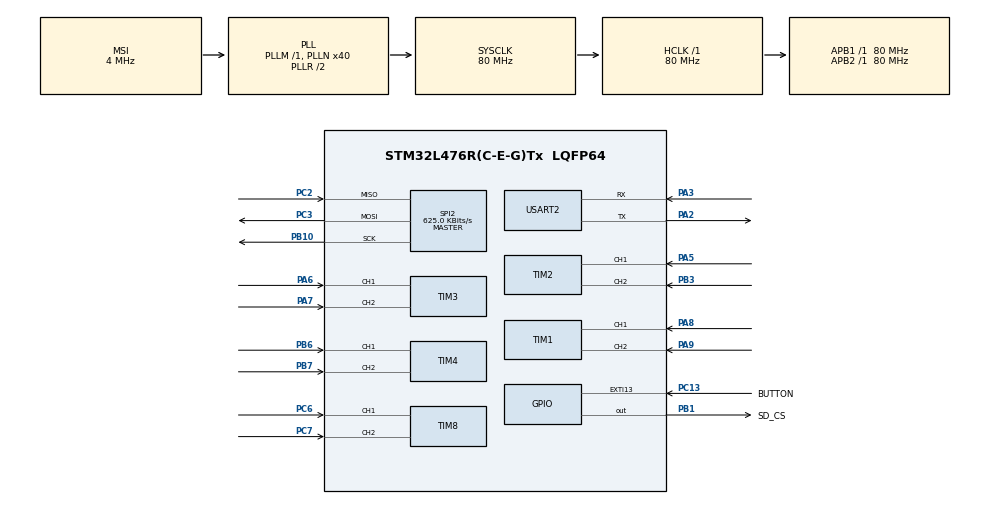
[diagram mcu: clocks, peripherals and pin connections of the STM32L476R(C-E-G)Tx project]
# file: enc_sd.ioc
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Mcu.Family=STM32L4
Mcu.Name=STM32L476R(C-E-G)Tx
Mcu.Package=LQFP64
NVIC.EXTI15_10_IRQn=true\:0\:0\:false\:false\:true\:true\:true\:true
NVIC.PriorityGroup=NVIC_PRIORITYGROUP_4
PA2.Mode=Asynchronous
PA2.Signal=USART2_TX
PA3.Mode=Asynchronous
PA3.Signal=USART2_RX
PA5.Signal=S_TIM2_CH1
PA6.Signal=S_TIM3_CH1
PA7.Signal=S_TIM3_CH2
PA8.Signal=S_TIM1_CH1
PA9.Signal=S_TIM1_CH2
PB1.GPIO_Label=SD_CS
PB1.Signal=GPIO_Output
PB10.Mode=Full_Duplex_Master
PB10.Signal=SPI2_SCK
PB3\ (JTDO-TRACESWO).Signal=S_TIM2_CH2
PB6.Signal=S_TIM4_CH1
PB7.Signal=S_TIM4_CH2
PC13.GPIO_Label=BUTTON
PC13.GPIO_ModeDefaultEXTI=GPIO_MODE_IT_FALLING
PC13.Signal=GPXTI13
PC2.Mode=Full_Duplex_Master
PC2.Signal=SPI2_MISO
PC3.Mode=Full_Duplex_Master
PC3.Signal=SPI2_MOSI
PC6.Signal=S_TIM8_CH1
PC7.Signal=S_TIM8_CH2
ProjectManager.HeapSize=0x200
ProjectManager.StackSize=0x400
ProjectManager.TargetToolchain=STM32CubeIDE
RCC.ADCFreq_Value=16000000
RCC.AHBFreq_Value=80000000
RCC.APB1Freq_Value=80000000
RCC.APB1TimFreq_Value=80000000
RCC.APB2Freq_Value=80000000
RCC.APB2TimFreq_Value=80000000
RCC.CortexFreq_Value=80000000
RCC.HCLKFreq_Value=80000000
RCC.HSE_VALUE=8000000
RCC.HSI_VALUE=16000000
RCC.LSE_VALUE=32768
RCC.MSI_VALUE=4000000
RCC.PLLN=40
RCC.SYSCLKFreq_VALUE=80000000
RCC.SYSCLKSource=RCC_SYSCLKSOURCE_PLLCLK
RCC.USBFreq_Value=16000000
RCC.VCOOutputFreq_Value=160000000
SH.S_TIM1_CH1.0=TIM1_CH1,Encoder_Interface
SH.S_TIM1_CH2.0=TIM1_CH2,Encoder_Interface
SH.S_TIM2_CH1.0=TIM2_CH1,Encoder_Interface
SH.S_TIM2_CH2.0=TIM2_CH2,Encoder_Interface
SH.S_TIM3_CH1.0=TIM3_CH1,Encoder_Interface
SH.S_TIM3_CH2.0=TIM3_CH2,Encoder_Interface
SH.S_TIM4_CH1.0=TIM4_CH1,Encoder_Interface
SH.S_TIM4_CH2.0=TIM4_CH2,Encoder_Interface
SH.S_TIM8_CH1.0=TIM8_CH1,Encoder_Interface
SH.S_TIM8_CH2.0=TIM8_CH2,Encoder_Interface
SPI2.BaudRatePrescaler=SPI_BAUDRATEPRESCALER_128
SPI2.CalculateBaudRate=625.0 KBits/s
SPI2.DataSize=SPI_DATASIZE_8BIT
SPI2.Direction=SPI_DIRECTION_2LINES
SPI2.Mode=SPI_MODE_MASTER
SPI2.VirtualType=VM_MASTER
TIM3.EncoderMode=TIM_ENCODERMODE_TI12
TIM4.EncoderMode=TIM_ENCODERMODE_TI12
USART2.VirtualMode-Asynchronous=VM_ASYNC
VP_FATFS_VS_Generic.Mode=User_defined
board=custom

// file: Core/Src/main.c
/* USER CODE BEGIN Header */
/**
  ******************************************************************************
  * @file           : main.c
  * @brief          : Main program body
  ******************************************************************************
  * @attention
  *
  * Copyright (c) 2023 STMicroelectronics.
  * All rights reserved.
  *
  * This software is licensed under terms that can be found in the LICENSE file
  * in the root directory of this software component.
  * If no LICENSE file comes with this software, it is provided AS-IS.
  *
  *Jan Oleksiuk
  ******************************************************************************
  */
/* USER CODE END Header */
#include "main.h"
#include "fatfs.h"

/* USER CODE BEGIN Includes */
#include <stdio.h>
#include <string.h>
#include <stdarg.h>
/* USER CODE END Includes */

SPI_HandleTypeDef hspi2;

TIM_HandleTypeDef htim1;
TIM_HandleTypeDef htim2;
TIM_HandleTypeDef htim3;
TIM_HandleTypeDef htim4;
TIM_HandleTypeDef htim8;

UART_HandleTypeDef huart2;

void SystemClock_Config(void);
static void MX_GPIO_Init(void);
static void MX_SPI2_Init(void);
static void MX_USART2_UART_Init(void);
static void MX_TIM3_Init(void);
static void MX_TIM4_Init(void);
static void MX_TIM1_Init(void);
static void MX_TIM2_Init(void);
static void MX_TIM8_Init(void);
/* USER CODE BEGIN PFP */
//printf set-up:
int __io_putchar(int ch)
{
    HAL_UART_Transmit(&huart2, (uint8_t*)&ch, 1, HAL_MAX_DELAY);
    return 1;
}
/* USER CODE END PFP */

/* USER CODE BEGIN 0 */

// interrupting when pushing button on the board
volatile int button_pushed = 0;

void HAL_GPIO_EXTI_Callback(uint16_t GPIO_Pin)
{
	if(GPIO_Pin == BUTTON_Pin)
	{
		button_pushed = 1;
	}
}

/* USER CODE END 0 */

int main(void)
{

  /* MCU Configuration--------------------------------------------------------*/

  /* Reset of all peripherals, Initializes the Flash interface and the Systick. */
  HAL_Init();

  /* Configure the system clock */
  SystemClock_Config();

  /* Initialize all configured peripherals */
  MX_GPIO_Init();
  MX_SPI2_Init();
  MX_FATFS_Init();
  MX_USART2_UART_Init();
  MX_TIM3_Init();
  MX_TIM4_Init();
  MX_TIM1_Init();
  MX_TIM2_Init();
  MX_TIM8_Init();
  /* USER CODE BEGIN 2 */

  HAL_Delay(1000); //SD card needs short delay to settle

   //variables for FatFs
   FATFS FatFs; 	//Fatfs handle
   FIL fil; 		//File handle
   FRESULT fres; //Result after operations

   //Open the file system

   fres = f_mount(&FatFs, "", 1); //1 = mount now
   if (fres != FR_OK)
   {
	    HAL_Delay(100);
	    HAL_NVIC_SystemReset(); // performing software system reset in case sd card is not detected correctly
   }

  /* USER CODE END 2 */

  /* Infinite loop */
  /* USER CODE BEGIN WHILE */

   //1st Encoder setup:
   HAL_TIM_Encoder_Start(&htim3, TIM_CHANNEL_ALL);

   //2nd Encoder setup:
   HAL_TIM_Encoder_Start(&htim4, TIM_CHANNEL_ALL);

   //3rd Encoder setup:
   HAL_TIM_Encoder_Start(&htim1, TIM_CHANNEL_ALL);

   //4th Encoder setup:
   HAL_TIM_Encoder_Start(&htim2, TIM_CHANNEL_ALL);

   //5th Encoder setup:
   HAL_TIM_Encoder_Start(&htim8, TIM_CHANNEL_ALL);

   //encoder variables
   int tim  = HAL_GetTick();
   int t = 0;

    //Create text file to store data from encoders:
    fres = f_open(&fil, "dane.txt", FA_WRITE | FA_OPEN_ALWAYS | FA_CREATE_ALWAYS);
    f_printf(&fil, "START\n");

    // main loop
    while (1)
    {

      //acquiring time and encoder values
  	  t  = HAL_GetTick() - tim;
  	  int16_t e1 = __HAL_TIM_GET_COUNTER(&htim3);
  	  int16_t e2 = __HAL_TIM_GET_COUNTER(&htim4);
  	  int16_t e3 = __HAL_TIM_GET_COUNTER(&htim1);
  	  int16_t e4 = __HAL_TIM_GET_COUNTER(&htim2);
  	  int16_t e5 = __HAL_TIM_GET_COUNTER(&htim8);

  	  //writing values as row separated with spaces in file in sd card
	  f_printf(&fil, "%d%6d%6d%6d%6d%6d\n", t, e1, e2, e3, e4, e5);

	  //writing values using USART - uncomment if using cable connection with PC
	  //printf("%d,%d,%d,%d,%d,%d\r\n", t, e1, e2, e3, e4, e5);

	  HAL_Delay(10);

	  // if button pushed - closing sd card flow
	  if (button_pushed)
	  {
		f_close(&fil);
		f_mount(NULL, "", 0);
	  }

    /* USER CODE END WHILE */

    }
}

void SystemClock_Config(void)
{
  RCC_OscInitTypeDef RCC_OscInitStruct = {0};
  RCC_ClkInitTypeDef RCC_ClkInitStruct = {0};

  /** Configure the main internal regulator output voltage
  */
  if (HAL_PWREx_ControlVoltageScaling(PWR_REGULATOR_VOLTAGE_SCALE1) != HAL_OK)
  {
    Error_Handler();
  }

  /** Initializes the RCC Oscillators according to the specified parameters
  * in the RCC_OscInitTypeDef structure.
  */
  RCC_OscInitStruct.OscillatorType = RCC_OSCILLATORTYPE_MSI;
  RCC_OscInitStruct.MSIState = RCC_MSI_ON;
  RCC_OscInitStruct.MSICalibrationValue = 0;
  RCC_OscInitStruct.MSIClockRange = RCC_MSIRANGE_6;
  RCC_OscInitStruct.PLL.PLLState = RCC_PLL_ON;
  RCC_OscInitStruct.PLL.PLLSource = RCC_PLLSOURCE_MSI;
  RCC_OscInitStruct.PLL.PLLM = 1;
  RCC_OscInitStruct.PLL.PLLN = 40;
  RCC_OscInitStruct.PLL.PLLP = RCC_PLLP_DIV7;
  RCC_OscInitStruct.PLL.PLLQ = RCC_PLLQ_DIV2;
  RCC_OscInitStruct.PLL.PLLR = RCC_PLLR_DIV2;
  if (HAL_RCC_OscConfig(&RCC_OscInitStruct) != HAL_OK)
  {
    Error_Handler();
  }

  /** Initializes the CPU, AHB and APB buses clocks
  */
  RCC_ClkInitStruct.ClockType = RCC_CLOCKTYPE_HCLK|RCC_CLOCKTYPE_SYSCLK
                              |RCC_CLOCKTYPE_PCLK1|RCC_CLOCKTYPE_PCLK2;
  RCC_ClkInitStruct.SYSCLKSource = RCC_SYSCLKSOURCE_PLLCLK;
  RCC_ClkInitStruct.AHBCLKDivider = RCC_SYSCLK_DIV1;
  RCC_ClkInitStruct.APB1CLKDivider = RCC_HCLK_DIV1;
  RCC_ClkInitStruct.APB2CLKDivider = RCC_HCLK_DIV1;

  if (HAL_RCC_ClockConfig(&RCC_ClkInitStruct, FLASH_LATENCY_4) != HAL_OK)
  {
    Error_Handler();
  }
}

static void MX_SPI2_Init(void)
{

  /* SPI2 parameter configuration*/
  hspi2.Instance = SPI2;
  hspi2.Init.Mode = SPI_MODE_MASTER;
  hspi2.Init.Direction = SPI_DIRECTION_2LINES;
  hspi2.Init.DataSize = SPI_DATASIZE_8BIT;
  hspi2.Init.CLKPolarity = SPI_POLARITY_LOW;
  hspi2.Init.CLKPhase = SPI_PHASE_1EDGE;
  hspi2.Init.NSS = SPI_NSS_SOFT;
  hspi2.Init.BaudRatePrescaler = SPI_BAUDRATEPRESCALER_128;
  hspi2.Init.FirstBit = SPI_FIRSTBIT_MSB;
  hspi2.Init.TIMode = SPI_TIMODE_DISABLE;
  hspi2.Init.CRCCalculation = SPI_CRCCALCULATION_DISABLE;
  hspi2.Init.CRCPolynomial = 7;
  hspi2.Init.CRCLength = SPI_CRC_LENGTH_DATASIZE;
  hspi2.Init.NSSPMode = SPI_NSS_PULSE_ENABLE;
  if (HAL_SPI_Init(&hspi2) != HAL_OK)
  {
    Error_Handler();
  }

}

static void MX_TIM1_Init(void)
{

  TIM_Encoder_InitTypeDef sConfig = {0};
  TIM_MasterConfigTypeDef sMasterConfig = {0};

  htim1.Instance = TIM1;
  htim1.Init.Prescaler = 0;
  htim1.Init.CounterMode = TIM_COUNTERMODE_UP;
  htim1.Init.Period = 65535;
  htim1.Init.ClockDivision = TIM_CLOCKDIVISION_DIV1;
  htim1.Init.RepetitionCounter = 0;
  htim1.Init.AutoReloadPreload = TIM_AUTORELOAD_PRELOAD_DISABLE;
  sConfig.EncoderMode = TIM_ENCODERMODE_TI1;
  sConfig.IC1Polarity = TIM_ICPOLARITY_RISING;
  sConfig.IC1Selection = TIM_ICSELECTION_DIRECTTI;
  sConfig.IC1Prescaler = TIM_ICPSC_DIV1;
  sConfig.IC1Filter = 0;
  sConfig.IC2Polarity = TIM_ICPOLARITY_RISING;
  sConfig.IC2Selection = TIM_ICSELECTION_DIRECTTI;
  sConfig.IC2Prescaler = TIM_ICPSC_DIV1;
  sConfig.IC2Filter = 0;
  if (HAL_TIM_Encoder_Init(&htim1, &sConfig) != HAL_OK)
  {
    Error_Handler();
  }
  sMasterConfig.MasterOutputTrigger = TIM_TRGO_RESET;
  sMasterConfig.MasterOutputTrigger2 = TIM_TRGO2_RESET;
  sMasterConfig.MasterSlaveMode = TIM_MASTERSLAVEMODE_DISABLE;
  if (HAL_TIMEx_MasterConfigSynchronization(&htim1, &sMasterConfig) != HAL_OK)
  {
    Error_Handler();
  }

}

static void MX_TIM2_Init(void)
{

  TIM_Encoder_InitTypeDef sConfig = {0};
  TIM_MasterConfigTypeDef sMasterConfig = {0};

  htim2.Instance = TIM2;
  htim2.Init.Prescaler = 0;
  htim2.Init.CounterMode = TIM_COUNTERMODE_UP;
  htim2.Init.Period = 4294967295;
  htim2.Init.ClockDivision = TIM_CLOCKDIVISION_DIV1;
  htim2.Init.AutoReloadPreload = TIM_AUTORELOAD_PRELOAD_DISABLE;
  sConfig.EncoderMode = TIM_ENCODERMODE_TI1;
  sConfig.IC1Polarity = TIM_ICPOLARITY_RISING;
  sConfig.IC1Selection = TIM_ICSELECTION_DIRECTTI;
  sConfig.IC1Prescaler = TIM_ICPSC_DIV1;
  sConfig.IC1Filter = 0;
  sConfig.IC2Polarity = TIM_ICPOLARITY_RISING;
  sConfig.IC2Selection = TIM_ICSELECTION_DIRECTTI;
  sConfig.IC2Prescaler = TIM_ICPSC_DIV1;
  sConfig.IC2Filter = 0;
  if (HAL_TIM_Encoder_Init(&htim2, &sConfig) != HAL_OK)
  {
    Error_Handler();
  }
  sMasterConfig.MasterOutputTrigger = TIM_TRGO_RESET;
  sMasterConfig.MasterSlaveMode = TIM_MASTERSLAVEMODE_DISABLE;
  if (HAL_TIMEx_MasterConfigSynchronization(&htim2, &sMasterConfig) != HAL_OK)
  {
    Error_Handler();
  }

}

static void MX_TIM3_Init(void)
{

  TIM_Encoder_InitTypeDef sConfig = {0};
  TIM_MasterConfigTypeDef sMasterConfig = {0};

  htim3.Instance = TIM3;
  htim3.Init.Prescaler = 0;
  htim3.Init.CounterMode = TIM_COUNTERMODE_UP;
  htim3.Init.Period = 65535;
  htim3.Init.ClockDivision = TIM_CLOCKDIVISION_DIV1;
  htim3.Init.AutoReloadPreload = TIM_AUTORELOAD_PRELOAD_DISABLE;
  sConfig.EncoderMode = TIM_ENCODERMODE_TI12;
  sConfig.IC1Polarity = TIM_ICPOLARITY_RISING;
  sConfig.IC1Selection = TIM_ICSELECTION_DIRECTTI;
  sConfig.IC1Prescaler = TIM_ICPSC_DIV1;
  sConfig.IC1Filter = 0;
  sConfig.IC2Polarity = TIM_ICPOLARITY_RISING;
  sConfig.IC2Selection = TIM_ICSELECTION_DIRECTTI;
  sConfig.IC2Prescaler = TIM_ICPSC_DIV1;
  sConfig.IC2Filter = 0;
  if (HAL_TIM_Encoder_Init(&htim3, &sConfig) != HAL_OK)
  {
    Error_Handler();
  }
  sMasterConfig.MasterOutputTrigger = TIM_TRGO_RESET;
  sMasterConfig.MasterSlaveMode = TIM_MASTERSLAVEMODE_DISABLE;
  if (HAL_TIMEx_MasterConfigSynchronization(&htim3, &sMasterConfig) != HAL_OK)
  {
    Error_Handler();
  }

}

static void MX_TIM4_Init(void)
{

  TIM_Encoder_InitTypeDef sConfig = {0};
  TIM_MasterConfigTypeDef sMasterConfig = {0};

  htim4.Instance = TIM4;
  htim4.Init.Prescaler = 0;
  htim4.Init.CounterMode = TIM_COUNTERMODE_UP;
  htim4.Init.Period = 65535;
  htim4.Init.ClockDivision = TIM_CLOCKDIVISION_DIV1;
  htim4.Init.AutoReloadPreload = TIM_AUTORELOAD_PRELOAD_DISABLE;
  sConfig.EncoderMode = TIM_ENCODERMODE_TI12;
  sConfig.IC1Polarity = TIM_ICPOLARITY_RISING;
  sConfig.IC1Selection = TIM_ICSELECTION_DIRECTTI;
  sConfig.IC1Prescaler = TIM_ICPSC_DIV1;
  sConfig.IC1Filter = 0;
  sConfig.IC2Polarity = TIM_ICPOLARITY_RISING;
  sConfig.IC2Selection = TIM_ICSELECTION_DIRECTTI;
  sConfig.IC2Prescaler = TIM_ICPSC_DIV1;
  sConfig.IC2Filter = 0;
  if (HAL_TIM_Encoder_Init(&htim4, &sConfig) != HAL_OK)
  {
    Error_Handler();
  }
  sMasterConfig.MasterOutputTrigger = TIM_TRGO_RESET;
  sMasterConfig.MasterSlaveMode = TIM_MASTERSLAVEMODE_DISABLE;
  if (HAL_TIMEx_MasterConfigSynchronization(&htim4, &sMasterConfig) != HAL_OK)
  {
    Error_Handler();
  }

}

static void MX_TIM8_Init(void)
{

  TIM_Encoder_InitTypeDef sConfig = {0};
  TIM_MasterConfigTypeDef sMasterConfig = {0};

  htim8.Instance = TIM8;
  htim8.Init.Prescaler = 0;
  htim8.Init.CounterMode = TIM_COUNTERMODE_UP;
  htim8.Init.Period = 65535;
  htim8.Init.ClockDivision = TIM_CLOCKDIVISION_DIV1;
  htim8.Init.RepetitionCounter = 0;
  htim8.Init.AutoReloadPreload = TIM_AUTORELOAD_PRELOAD_DISABLE;
  sConfig.EncoderMode = TIM_ENCODERMODE_TI1;
  sConfig.IC1Polarity = TIM_ICPOLARITY_RISING;
  sConfig.IC1Selection = TIM_ICSELECTION_DIRECTTI;
  sConfig.IC1Prescaler = TIM_ICPSC_DIV1;
  sConfig.IC1Filter = 0;
  sConfig.IC2Polarity = TIM_ICPOLARITY_RISING;
  sConfig.IC2Selection = TIM_ICSELECTION_DIRECTTI;
  sConfig.IC2Prescaler = TIM_ICPSC_DIV1;
  sConfig.IC2Filter = 0;
  if (HAL_TIM_Encoder_Init(&htim8, &sConfig) != HAL_OK)
  {
    Error_Handler();
  }
  sMasterConfig.MasterOutputTrigger = TIM_TRGO_RESET;
  sMasterConfig.MasterOutputTrigger2 = TIM_TRGO2_RESET;
  sMasterConfig.MasterSlaveMode = TIM_MASTERSLAVEMODE_DISABLE;
  if (HAL_TIMEx_MasterConfigSynchronization(&htim8, &sMasterConfig) != HAL_OK)
  {
    Error_Handler();
  }

}

static void MX_USART2_UART_Init(void)
{

  huart2.Instance = USART2;
  huart2.Init.BaudRate = 115200;
  huart2.Init.WordLength = UART_WORDLENGTH_8B;
  huart2.Init.StopBits = UART_STOPBITS_1;
  huart2.Init.Parity = UART_PARITY_NONE;
  huart2.Init.Mode = UART_MODE_TX_RX;
  huart2.Init.HwFlowCtl = UART_HWCONTROL_NONE;
  huart2.Init.OverSampling = UART_OVERSAMPLING_16;
  huart2.Init.OneBitSampling = UART_ONE_BIT_SAMPLE_DISABLE;
  huart2.AdvancedInit.AdvFeatureInit = UART_ADVFEATURE_NO_INIT;
  if (HAL_UART_Init(&huart2) != HAL_OK)
  {
    Error_Handler();
  }

}

static void MX_GPIO_Init(void)
{
  GPIO_InitTypeDef GPIO_InitStruct = {0};

  /* GPIO Ports Clock Enable */
  __HAL_RCC_GPIOC_CLK_ENABLE();
  __HAL_RCC_GPIOA_CLK_ENABLE();
  __HAL_RCC_GPIOB_CLK_ENABLE();

  /*Configure GPIO pin Output Level */
  HAL_GPIO_WritePin(SD_CS_GPIO_Port, SD_CS_Pin, GPIO_PIN_RESET);

  /*Configure GPIO pin : BUTTON_Pin */
  GPIO_InitStruct.Pin = BUTTON_Pin;
  GPIO_InitStruct.Mode = GPIO_MODE_IT_FALLING;
  GPIO_InitStruct.Pull = GPIO_NOPULL;
  HAL_GPIO_Init(BUTTON_GPIO_Port, &GPIO_InitStruct);

  /*Configure GPIO pin : SD_CS_Pin */
  GPIO_InitStruct.Pin = SD_CS_Pin;
  GPIO_InitStruct.Mode = GPIO_MODE_OUTPUT_PP;
  GPIO_InitStruct.Pull = GPIO_NOPULL;
  GPIO_InitStruct.Speed = GPIO_SPEED_FREQ_LOW;
  HAL_GPIO_Init(SD_CS_GPIO_Port, &GPIO_InitStruct);

  /* EXTI interrupt init*/
  HAL_NVIC_SetPriority(EXTI15_10_IRQn, 0, 0);
  HAL_NVIC_EnableIRQ(EXTI15_10_IRQn);

}

void Error_Handler(void)
{
  __disable_irq();
  while (1)
  {
  }
}
